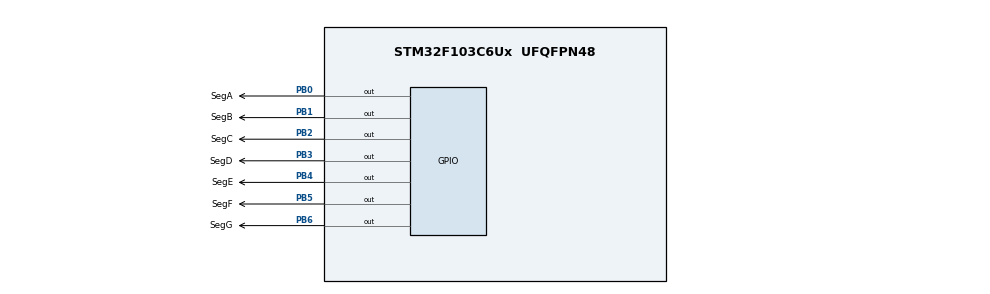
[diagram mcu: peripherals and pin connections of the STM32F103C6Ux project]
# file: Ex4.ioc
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Mcu.Family=STM32F1
Mcu.Name=STM32F103C6Ux
Mcu.Package=UFQFPN48
NVIC.PriorityGroup=NVIC_PRIORITYGROUP_4
PB0.GPIO_Label=SegA
PB0.PinState=GPIO_PIN_SET
PB0.Signal=GPIO_Output
PB1.GPIO_Label=SegB
PB1.PinState=GPIO_PIN_SET
PB1.Signal=GPIO_Output
PB2.GPIO_Label=SegC
PB2.PinState=GPIO_PIN_SET
PB2.Signal=GPIO_Output
PB3.GPIO_Label=SegD
PB3.PinState=GPIO_PIN_SET
PB3.Signal=GPIO_Output
PB4.GPIO_Label=SegE
PB4.PinState=GPIO_PIN_SET
PB4.Signal=GPIO_Output
PB5.GPIO_Label=SegF
PB5.PinState=GPIO_PIN_SET
PB5.Signal=GPIO_Output
PB6.GPIO_Label=SegG
PB6.PinState=GPIO_PIN_SET
PB6.Signal=GPIO_Output
ProjectManager.HeapSize=0x200
ProjectManager.StackSize=0x400
ProjectManager.TargetToolchain=STM32CubeIDE
RCC.APB1Freq_Value=8000000
RCC.APB2Freq_Value=8000000
VP_SYS_VS_ND.Mode=No_Debug
board=custom

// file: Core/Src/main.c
/* USER CODE BEGIN Header */
/**
  ******************************************************************************
  * @file           : main.c
  * @brief          : Main program body
  ******************************************************************************
  * @attention
  *
  * <h2><center>&copy; Copyright (c) 2023 STMicroelectronics.
  * All rights reserved.</center></h2>
  *
  * This software component is licensed by ST under BSD 3-Clause license,
  * the "License"; You may not use this file except in compliance with the
  * License. You may obtain a copy of the License at:
  *                        opensource.org/licenses/BSD-3-Clause
  *
  ******************************************************************************
  */
/* USER CODE END Header */
#include "main.h"

void SystemClock_Config(void);
static void MX_GPIO_Init(void);

int main(void)
{

  /* MCU Configuration--------------------------------------------------------*/

  /* Reset of all peripherals, Initializes the Flash interface and the Systick. */
  HAL_Init();

  /* Configure the system clock */
  SystemClock_Config();

  /* Initialize all configured peripherals */
  MX_GPIO_Init();
  /* USER CODE BEGIN 2 */
  void display7SEG(uint8_t num) {
	  switch(num) {
	  	  case 0:
	  		HAL_GPIO_WritePin(SegA_GPIO_Port, SegA_Pin, RESET);
	  		HAL_GPIO_WritePin(SegB_GPIO_Port, SegB_Pin, RESET);
	  		HAL_GPIO_WritePin(SegC_GPIO_Port, SegC_Pin, RESET);
	  		HAL_GPIO_WritePin(SegD_GPIO_Port, SegD_Pin, RESET);
	  		HAL_GPIO_WritePin(SegE_GPIO_Port, SegE_Pin, RESET);
	  		HAL_GPIO_WritePin(SegF_GPIO_Port, SegF_Pin, RESET);
	  		HAL_GPIO_WritePin(SegG_GPIO_Port, SegG_Pin, SET);
	  		break;
		  case 1:
	  		HAL_GPIO_WritePin(SegA_GPIO_Port, SegA_Pin, SET);
	  		HAL_GPIO_WritePin(SegB_GPIO_Port, SegB_Pin, RESET);
	  		HAL_GPIO_WritePin(SegC_GPIO_Port, SegC_Pin, RESET);
	  		HAL_GPIO_WritePin(SegD_GPIO_Port, SegD_Pin, SET);
	  		HAL_GPIO_WritePin(SegE_GPIO_Port, SegE_Pin, SET);
	  		HAL_GPIO_WritePin(SegF_GPIO_Port, SegF_Pin, SET);
	  		HAL_GPIO_WritePin(SegG_GPIO_Port, SegG_Pin, SET);
	  		break;
		  case 2:
	  		HAL_GPIO_WritePin(SegA_GPIO_Port, SegA_Pin, RESET);
	  		HAL_GPIO_WritePin(SegB_GPIO_Port, SegB_Pin, RESET);
	  		HAL_GPIO_WritePin(SegC_GPIO_Port, SegC_Pin, SET);
	  		HAL_GPIO_WritePin(SegD_GPIO_Port, SegD_Pin, RESET);
	  		HAL_GPIO_WritePin(SegE_GPIO_Port, SegE_Pin, RESET);
	  		HAL_GPIO_WritePin(SegF_GPIO_Port, SegF_Pin, SET);
	  		HAL_GPIO_WritePin(SegG_GPIO_Port, SegG_Pin, RESET);
	  		break;
		  case 3:
	  		HAL_GPIO_WritePin(SegA_GPIO_Port, SegA_Pin, RESET);
	  		HAL_GPIO_WritePin(SegB_GPIO_Port, SegB_Pin, RESET);
	  		HAL_GPIO_WritePin(SegC_GPIO_Port, SegC_Pin, RESET);
	  		HAL_GPIO_WritePin(SegD_GPIO_Port, SegD_Pin, RESET);
	  		HAL_GPIO_WritePin(SegE_GPIO_Port, SegE_Pin, SET);
	  		HAL_GPIO_WritePin(SegF_GPIO_Port, SegF_Pin, SET);
	  		HAL_GPIO_WritePin(SegG_GPIO_Port, SegG_Pin, RESET);
	  		break;
		  case 4:
	  		HAL_GPIO_WritePin(SegA_GPIO_Port, SegA_Pin, SET);
	  		HAL_GPIO_WritePin(SegB_GPIO_Port, SegB_Pin, RESET);
	  		HAL_GPIO_WritePin(SegC_GPIO_Port, SegC_Pin, RESET);
	  		HAL_GPIO_WritePin(SegD_GPIO_Port, SegD_Pin, SET);
	  		HAL_GPIO_WritePin(SegE_GPIO_Port, SegE_Pin, SET);
	  		HAL_GPIO_WritePin(SegF_GPIO_Port, SegF_Pin, RESET);
	  		HAL_GPIO_WritePin(SegG_GPIO_Port, SegG_Pin, RESET);
	  		break;
		  case 5:
	  		HAL_GPIO_WritePin(SegA_GPIO_Port, SegA_Pin, RESET);
	  		HAL_GPIO_WritePin(SegB_GPIO_Port, SegB_Pin, SET);
	  		HAL_GPIO_WritePin(SegC_GPIO_Port, SegC_Pin, RESET);
	  		HAL_GPIO_WritePin(SegD_GPIO_Port, SegD_Pin, RESET);
	  		HAL_GPIO_WritePin(SegE_GPIO_Port, SegE_Pin, SET);
	  		HAL_GPIO_WritePin(SegF_GPIO_Port, SegF_Pin, RESET);
	  		HAL_GPIO_WritePin(SegG_GPIO_Port, SegG_Pin, RESET);
	  		break;
		  case 6:
	  		HAL_GPIO_WritePin(SegA_GPIO_Port, SegA_Pin, RESET);
	  		HAL_GPIO_WritePin(SegB_GPIO_Port, SegB_Pin, SET);
	  		HAL_GPIO_WritePin(SegC_GPIO_Port, SegC_Pin, RESET);
	  		HAL_GPIO_WritePin(SegD_GPIO_Port, SegD_Pin, RESET);
	  		HAL_GPIO_WritePin(SegE_GPIO_Port, SegE_Pin, RESET);
	  		HAL_GPIO_WritePin(SegF_GPIO_Port, SegF_Pin, RESET);
	  		HAL_GPIO_WritePin(SegG_GPIO_Port, SegG_Pin, RESET);
	  		break;
		  case 7:
	  		HAL_GPIO_WritePin(SegA_GPIO_Port, SegA_Pin, RESET);
	  		HAL_GPIO_WritePin(SegB_GPIO_Port, SegB_Pin, RESET);
	  		HAL_GPIO_WritePin(SegC_GPIO_Port, SegC_Pin, RESET);
	  		HAL_GPIO_WritePin(SegD_GPIO_Port, SegD_Pin, SET);
	  		HAL_GPIO_WritePin(SegE_GPIO_Port, SegE_Pin, SET);
	  		HAL_GPIO_WritePin(SegF_GPIO_Port, SegF_Pin, SET);
	  		HAL_GPIO_WritePin(SegG_GPIO_Port, SegG_Pin, SET);
	  		break;
		  case 8:
	  		HAL_GPIO_WritePin(SegA_GPIO_Port, SegA_Pin, RESET);
	  		HAL_GPIO_WritePin(SegB_GPIO_Port, SegB_Pin, RESET);
	  		HAL_GPIO_WritePin(SegC_GPIO_Port, SegC_Pin, RESET);
	  		HAL_GPIO_WritePin(SegD_GPIO_Port, SegD_Pin, RESET);
	  		HAL_GPIO_WritePin(SegE_GPIO_Port, SegE_Pin, RESET);
	  		HAL_GPIO_WritePin(SegF_GPIO_Port, SegF_Pin, RESET);
	  		HAL_GPIO_WritePin(SegG_GPIO_Port, SegG_Pin, RESET);
	  		break;
		  case 9:
	  		HAL_GPIO_WritePin(SegA_GPIO_Port, SegA_Pin, RESET);
	  		HAL_GPIO_WritePin(SegB_GPIO_Port, SegB_Pin, RESET);
	  		HAL_GPIO_WritePin(SegC_GPIO_Port, SegC_Pin, RESET);
	  		HAL_GPIO_WritePin(SegD_GPIO_Port, SegD_Pin, RESET);
	  		HAL_GPIO_WritePin(SegE_GPIO_Port, SegE_Pin, SET);
	  		HAL_GPIO_WritePin(SegF_GPIO_Port, SegF_Pin, RESET);
	  		HAL_GPIO_WritePin(SegG_GPIO_Port, SegG_Pin, RESET);
	  		break;
		  default:
			HAL_GPIO_WritePin(SegA_GPIO_Port, SegA_Pin, SET);
		    HAL_GPIO_WritePin(SegB_GPIO_Port, SegB_Pin, RESET);
		    HAL_GPIO_WritePin(SegC_GPIO_Port, SegC_Pin, RESET);
		  	HAL_GPIO_WritePin(SegD_GPIO_Port, SegD_Pin, SET);
		  	HAL_GPIO_WritePin(SegE_GPIO_Port, SegE_Pin, RESET);
		  	HAL_GPIO_WritePin(SegF_GPIO_Port, SegF_Pin, RESET);
		  	HAL_GPIO_WritePin(SegG_GPIO_Port, SegG_Pin, RESET);
	  }
  }
  uint8_t counter = 0;
  /* USER CODE END 2 */

  /* Infinite loop */
  while (1)
  {
	  if (counter == 10)
		  counter = 0;
	  display7SEG(counter++);
	  HAL_Delay(1000);
  }
}

void SystemClock_Config(void)
{
  RCC_OscInitTypeDef RCC_OscInitStruct = {0};
  RCC_ClkInitTypeDef RCC_ClkInitStruct = {0};

  /** Initializes the RCC Oscillators according to the specified parameters
  * in the RCC_OscInitTypeDef structure.
  */
  RCC_OscInitStruct.OscillatorType = RCC_OSCILLATORTYPE_HSI;
  RCC_OscInitStruct.HSIState = RCC_HSI_ON;
  RCC_OscInitStruct.HSICalibrationValue = RCC_HSICALIBRATION_DEFAULT;
  RCC_OscInitStruct.PLL.PLLState = RCC_PLL_NONE;
  if (HAL_RCC_OscConfig(&RCC_OscInitStruct) != HAL_OK)
  {
    Error_Handler();
  }
  /** Initializes the CPU, AHB and APB buses clocks
  */
  RCC_ClkInitStruct.ClockType = RCC_CLOCKTYPE_HCLK|RCC_CLOCKTYPE_SYSCLK
                              |RCC_CLOCKTYPE_PCLK1|RCC_CLOCKTYPE_PCLK2;
  RCC_ClkInitStruct.SYSCLKSource = RCC_SYSCLKSOURCE_HSI;
  RCC_ClkInitStruct.AHBCLKDivider = RCC_SYSCLK_DIV1;
  RCC_ClkInitStruct.APB1CLKDivider = RCC_HCLK_DIV1;
  RCC_ClkInitStruct.APB2CLKDivider = RCC_HCLK_DIV1;

  if (HAL_RCC_ClockConfig(&RCC_ClkInitStruct, FLASH_LATENCY_0) != HAL_OK)
  {
    Error_Handler();
  }
}

static void MX_GPIO_Init(void)
{
  GPIO_InitTypeDef GPIO_InitStruct = {0};

  /* GPIO Ports Clock Enable */
  __HAL_RCC_GPIOB_CLK_ENABLE();

  /*Configure GPIO pin Output Level */
  HAL_GPIO_WritePin(GPIOB, SegA_Pin|SegB_Pin|SegC_Pin|SegD_Pin
                          |SegE_Pin|SegF_Pin|SegG_Pin, GPIO_PIN_SET);

  /*Configure GPIO pins : SegA_Pin SegB_Pin SegC_Pin SegD_Pin
                           SegE_Pin SegF_Pin SegG_Pin */
  GPIO_InitStruct.Pin = SegA_Pin|SegB_Pin|SegC_Pin|SegD_Pin
                          |SegE_Pin|SegF_Pin|SegG_Pin;
  GPIO_InitStruct.Mode = GPIO_MODE_OUTPUT_PP;
  GPIO_InitStruct.Pull = GPIO_NOPULL;
  GPIO_InitStruct.Speed = GPIO_SPEED_FREQ_LOW;
  HAL_GPIO_Init(GPIOB, &GPIO_InitStruct);

}

void Error_Handler(void)
{
  __disable_irq();
  while (1)
  {
  }
}

/************************ (C) COPYRIGHT STMicroelectronics *****END OF FILE****/
